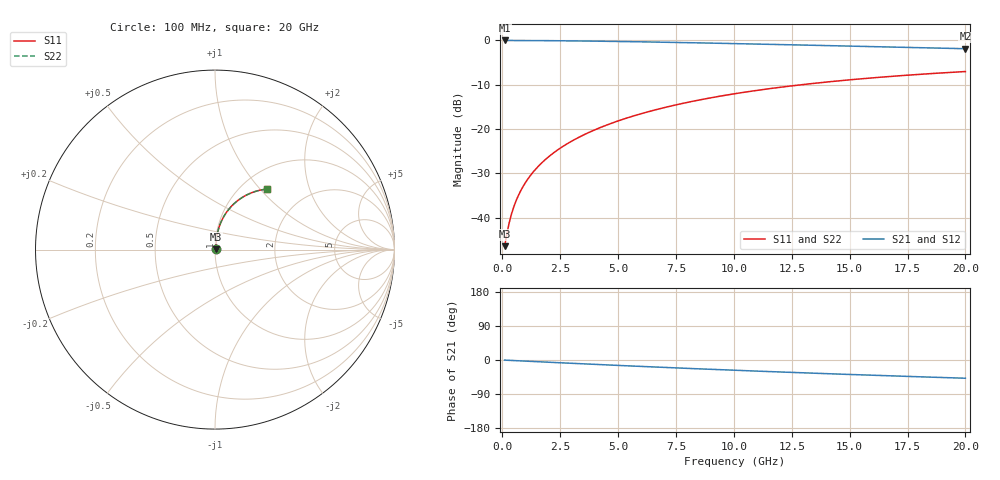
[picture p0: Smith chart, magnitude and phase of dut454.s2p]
! Touchstone file exported from HFSS 2024.1.0
!  File:  C:/UserFiles/LocalFiles/RDL_TSV_Batchsim/temp_RDL_bottom_454_1779685247.aedt
!  Generated:  01:03:24 PM May 25, 2026
!  Design:  RDL_bottom
!  Project:  temp_RDL_bottom_454_1779685247
!  Setup:  Setup1
!  Solution:  Sweep
! Variables:
!  dtsv = 10.80580581um
!  hbump = 3um
!  htsv = 90.33um
!  ldown = 646.64um
!  lrdl = 100um
!  p = 40
!  p1 = 56.93um
!  rhole = 1um
!  t = 450um
!  tdown = 2.8um
!  trdl = 3.915915916um
!  wdown = 21.65um
!  wrdl = 20um
# GHz S MA R 50.000000
! Terminal data exported
! Port[1] = RDL1_T1
! Port[2] = RDL1_T2
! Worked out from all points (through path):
!   200 points, 100 MHz to 20 GHz, reference 50 ohm
!   highest |S21| = -0.03 dB at 100 MHz (marker M1); lowest = -1.9 dB at 20 GHz (marker M2)
!   group delay of S21, straight-line fit = 6.65 ps
!   lowest |S11| = -46.4 dB at 100 MHz (marker M3), VSWR 1.01, Z = 50.4 + j0.263 ohm
!   |S11| at or under -10 dB: start of sweep to 12.95 GHz
!   |S22| runs from -46.4 to -7.0 dB; largest |S21 - S12| = 2.2e-14
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0.1  0.004778 33.1  0.996 -0.3  0.996 -0.3  0.004779 33.1
! Gamma 0 0 0 0
! Port Impedance 50 0 50 0
0.2  0.006626 51.3  0.9958 -0.6  0.9958 -0.6  0.006626 51.3
0.3  0.008799 60.6  0.9956 -0.9  0.9956 -0.9  0.008799 60.6
0.4  0.01106 65.9  0.9954 -1.2  0.9954 -1.2  0.01106 65.9
0.5  0.01334 69.4  0.9952 -1.5  0.9952 -1.5  0.01334 69.4
0.6  0.01563 71.9  0.9949 -1.8  0.9949 -1.8  0.01563 71.9
0.8  0.02024 75.3  0.9945 -2.4  0.9945 -2.4  0.02024 75.3
1.1  0.02722 78.2  0.9937 -3.3  0.9937 -3.3  0.02722 78.2
1.3  0.03193 79.4  0.9932 -3.8  0.9932 -3.8  0.03193 79.4
1.6  0.03905 80.5  0.9922 -4.7  0.9922 -4.7  0.03905 80.5
2.1  0.05107 81.5  0.9901 -6.2  0.9901 -6.2  0.05106 81.5
2.7  0.06568 81.9  0.9871 -7.9  0.9871 -7.9  0.06568 81.9
3.5  0.08547 81.6  0.9822 -10.2  0.9822 -10.2  0.08547 81.6
4.2  0.103 81.0  0.9771 -12.1  0.9771 -12.1  0.103 80.9
5  0.1233 79.9  0.9705 -14.3  0.9705 -14.3  0.1233 79.9
5.9  0.1463 78.5  0.9623 -16.7  0.9623 -16.7  0.1463 78.4
6.8  0.1693 76.8  0.9534 -19.1  0.9534 -19.1  0.1693 76.8
8.4  0.2098 73.5  0.9365 -23.1  0.9365 -23.1  0.2097 73.5
10.1  0.2514 69.9  0.9175 -27.2  0.9175 -27.2  0.2513 69.8
13.4  0.3259 62.6  0.8792 -34.7  0.8792 -34.7  0.3257 62.6
16.7  0.3904 55.7  0.8408 -41.7  0.8408 -41.7  0.3902 55.7
20  0.4445 49.3  0.8039 -48.1  0.8039 -48.1  0.4443 49.3
